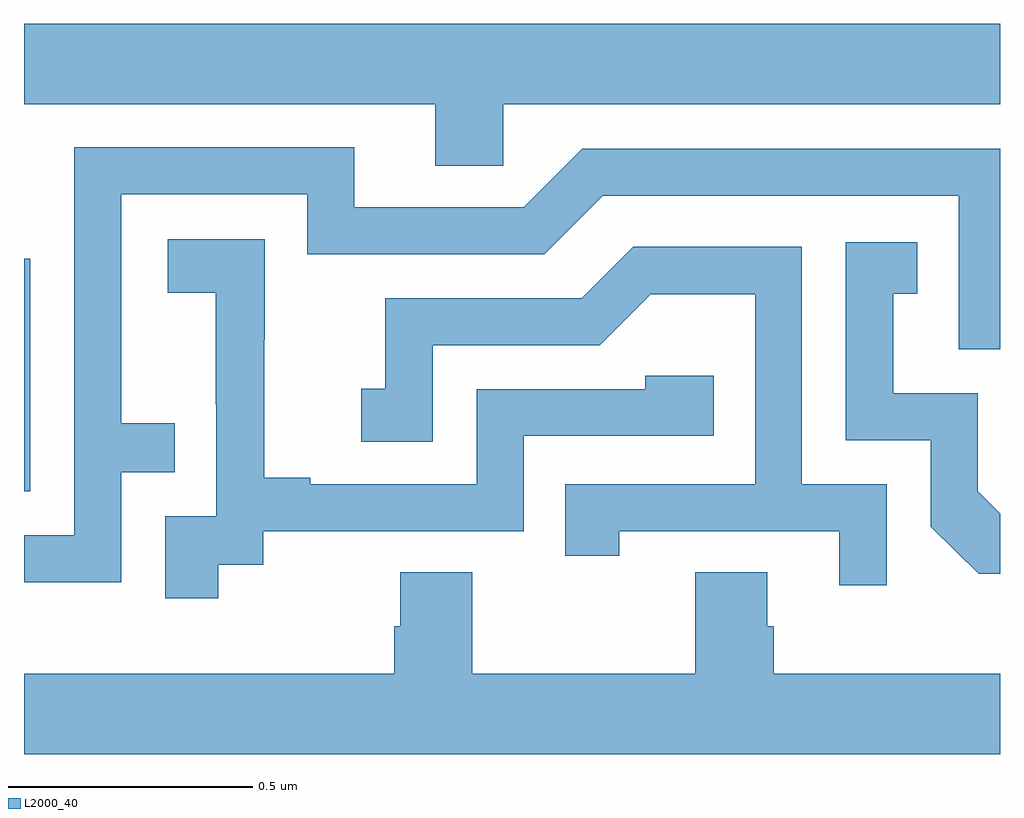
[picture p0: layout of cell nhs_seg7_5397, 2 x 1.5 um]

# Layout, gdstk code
import gdstk
lib = gdstk.Library(unit=1e-6, precision=1e-09)
def R(c, l, rs):  # rectangles x0, y0, x1, y1
    for r in rs: c.add(gdstk.rectangle(r[:2], r[2:], *l))
def P(c, l, *ps):  # polygons
    for p in ps: c.add(gdstk.Polygon(p, *l))
L2000_40 = (2000, 40)

nhs_seg7_5397 = lib.new_cell('nhs_seg7_5397')
R(nhs_seg7_5397, L2000_40, [(185,1039.782,185.013,1040.259)])
P(nhs_seg7_5397, L2000_40, [(185.982,1040.576),(187,1040.576),(187,1040.74),(185,1040.74),(185,1040.576),(185.843,1040.576),(185.843,1040.449),(185.982,1040.449)],
  [(185.199,1039.821),(185.309,1039.821),(185.309,1039.922),(185.199,1039.922),(185.199,1040.391),(185.58,1040.391),(185.58,1040.268),(186.066,1040.268),(186.186,1040.388),(186.915,1040.388),(186.915,1040.073),(187,1040.073),(187,1040.484),(186.144,1040.484),(186.024,1040.364),(185.677,1040.364),(185.677,1040.487),(185.103,1040.487),(185.103,1039.692),(185,1039.692),(185,1039.596),(185.199,1039.596)],
  [(185.398,1039.632),(185.49,1039.632),(185.49,1039.701),(186.024,1039.701),(186.024,1039.896),(186.413,1039.896),(186.413,1040.019),(186.273,1040.019),(186.273,1039.992),(185.928,1039.992),(185.928,1039.797),(185.587,1039.797),(185.587,1039.81),(185.492,1039.81),(185.492,1040.093),(185.493,1040.093),(185.493,1040.299),(185.295,1040.299),(185.295,1040.189),(185.393,1040.189),(185.393,1039.961),(185.394,1039.961),(185.394,1039.731),(185.289,1039.731),(185.289,1039.563),(185.398,1039.563)],
  [(187,1039.736),(186.954,1039.782),(186.954,1039.983),(186.781,1039.983),(186.781,1040.187),(186.83,1040.187),(186.83,1040.293),(186.684,1040.293),(186.684,1039.887),(186.858,1039.887),(186.858,1039.71),(186.956,1039.613),(187,1039.613)],
  [(186.768,1039.797),(186.594,1039.797),(186.594,1040.283),(186.248,1040.283),(186.143,1040.178),(185.74,1040.178),(185.74,1039.993),(185.691,1039.993),(185.691,1039.884),(185.838,1039.884),(185.838,1040.082),(186.18,1040.082),(186.284,1040.186),(186.498,1040.186),(186.498,1039.797),(186.109,1039.797),(186.109,1039.65),(186.22,1039.65),(186.22,1039.701),(186.671,1039.701),(186.671,1039.59),(186.768,1039.59)],
  [(187,1039.408),(186.536,1039.408),(186.536,1039.506),(186.523,1039.506),(186.523,1039.616),(186.376,1039.616),(186.376,1039.408),(185.919,1039.408),(185.919,1039.616),(185.771,1039.616),(185.771,1039.506),(185.759,1039.506),(185.759,1039.408),(185,1039.408),(185,1039.244),(187,1039.244)])

lib.write_gds('nhs_seg7_5397.gds')
